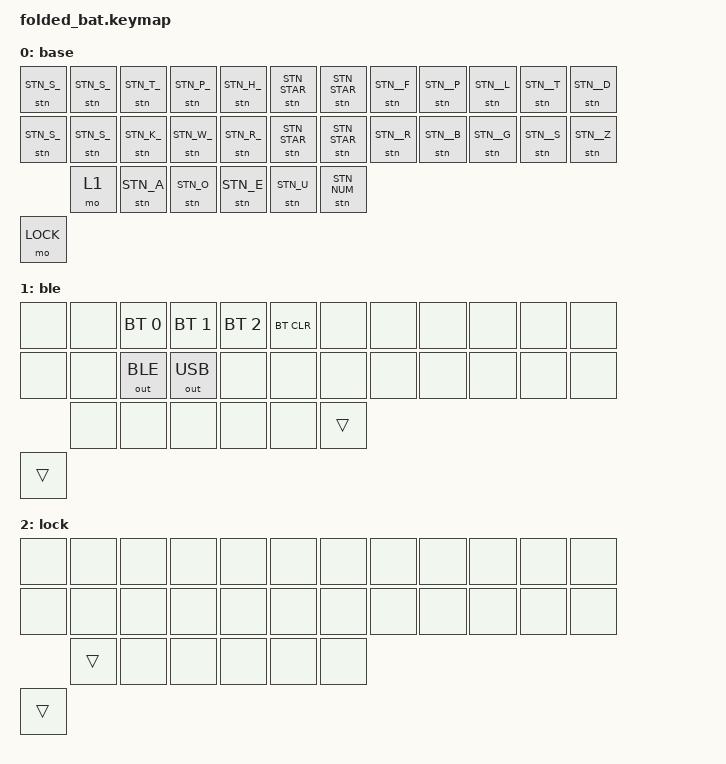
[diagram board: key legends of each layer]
/*
 * Copyright (c) 2020 The ZMK Contributors
 *
 * SPDX-License-Identifier: MIT
 */

#include <behaviors.dtsi>
#include <dt-bindings/zmk/keys.h>
#include <dt-bindings/zmk/bt.h>
#include <dt-bindings/zmk/outputs.h>
#include "../steno/impl/zmk/steno_keys.h"

#define BASE 0
#define BLE  1
#define LOCK 2

/ {
    keymap0: keymap {
        compatible = "zmk,keymap";

        base {
            bindings = <
&stn STN_S_ &stn STN_S_ &stn STN_T_ &stn STN_P_ &stn STN_H_ &stn STN_STAR &stn STN_STAR &stn STN__F &stn STN__P &stn STN__L &stn STN__T &stn STN__D
&stn STN_S_ &stn STN_S_ &stn STN_K_ &stn STN_W_ &stn STN_R_ &stn STN_STAR &stn STN_STAR &stn STN__R &stn STN__B &stn STN__G &stn STN__S &stn STN__Z
                &mo 1 &stn STN_A &stn STN_O &stn STN_E &stn STN_U &stn STN_NUM
&mo LOCK
                >;
        };
        ble {
            bindings = <
&none &none &bt BT_SEL 0 &bt BT_SEL 1 &bt BT_SEL 2 &bt BT_CLR &none &none &none &none &none &none
&none &none &out OUT_BLE &out OUT_USB &none &none &none &none &none &none &none &none
                &none &none &none &none &none &trans
&trans
                >;
        };
        lock {
            bindings = <
&none &none &none &none &none &none &none &none &none &none &none &none
&none &none &none &none &none &none &none &none &none &none &none &none
                &trans &none &none &none &none &none
&trans
                >;
        };
    };
};
